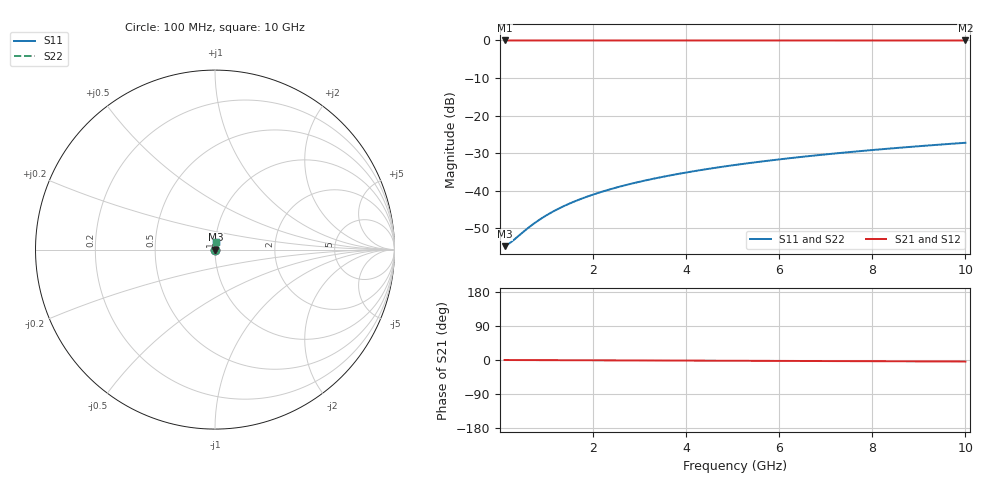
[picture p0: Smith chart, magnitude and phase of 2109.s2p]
# Hz S RI R 50.00
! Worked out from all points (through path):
!   100 points, 100 MHz to 10 GHz, reference 50 ohm
!   highest |S21| = -0.02 dB at 100 MHz (marker M1); lowest = 0.0 dB at 10 GHz (marker M2)
!   lowest |S11| = -54.8 dB at 100 MHz (marker M3), VSWR 1.00, Z = 50.2 + j0.0433 ohm
!   |S11| at or under -10 dB: start of sweep to end of sweep
!   |S22| runs from -54.8 to -27.3 dB; largest |S21 - S12| = 0
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1e8  0.00177 0.000432  0.9982 -0.000694  0.9982 -0.000694  0.00177 0.000432
2e8  0.00178 0.000863  0.9982 -0.00139  0.9982 -0.00139  0.00178 0.000863
3e8  0.00179 0.0013  0.9982 -0.00208  0.9982 -0.00208  0.00179 0.0013
5e8  0.00181 0.00216  0.9982 -0.00347  0.9982 -0.00347  0.00181 0.00216
7e8  0.00183 0.00302  0.9982 -0.00486  0.9982 -0.00486  0.00183 0.00302
8e8  0.00184 0.00345  0.9982 -0.00555  0.9982 -0.00555  0.00184 0.00345
1e9  0.00185 0.00432  0.9981 -0.00694  0.9981 -0.00694  0.00185 0.00432
1.2e9  0.00187 0.00518  0.9981 -0.00833  0.9981 -0.00833  0.00187 0.00518
1.4e9  0.0019 0.00604  0.9981 -0.00972  0.9981 -0.00972  0.0019 0.00604
1.6e9  0.00192 0.00691  0.9981 -0.0111  0.9981 -0.0111  0.00192 0.00691
1.8e9  0.00194 0.00777  0.998 -0.0125  0.998 -0.0125  0.00194 0.00777
2.1e9  0.00199 0.00906  0.998 -0.0146  0.998 -0.0146  0.00199 0.00906
2.5e9  0.00205 0.0108  0.9979 -0.0174  0.9979 -0.0174  0.00205 0.0108
2.9e9  0.00212 0.0125  0.9978 -0.0201  0.9978 -0.0201  0.00212 0.0125
3.4e9  0.00223 0.0147  0.9977 -0.0236  0.9977 -0.0236  0.00223 0.0147
4.2e9  0.00242 0.0181  0.9975 -0.0292  0.9975 -0.0292  0.00242 0.0181
5.1e9  0.00269 0.022  0.9972 -0.0354  0.9972 -0.0354  0.00269 0.022
5.9e9  0.00296 0.0254  0.9969 -0.041  0.9969 -0.041  0.00296 0.0254
6.7e9  0.00328 0.0289  0.9965 -0.0465  0.9965 -0.0465  0.00328 0.0289
7.5e9  0.00363 0.0323  0.9962 -0.0521  0.9962 -0.0521  0.00363 0.0323
8.4e9  0.00407 0.0362  0.9957 -0.0583  0.9957 -0.0583  0.00407 0.0362
1e10  0.00498 0.0431  0.9946 -0.0694  0.9946 -0.0694  0.00498 0.0431
